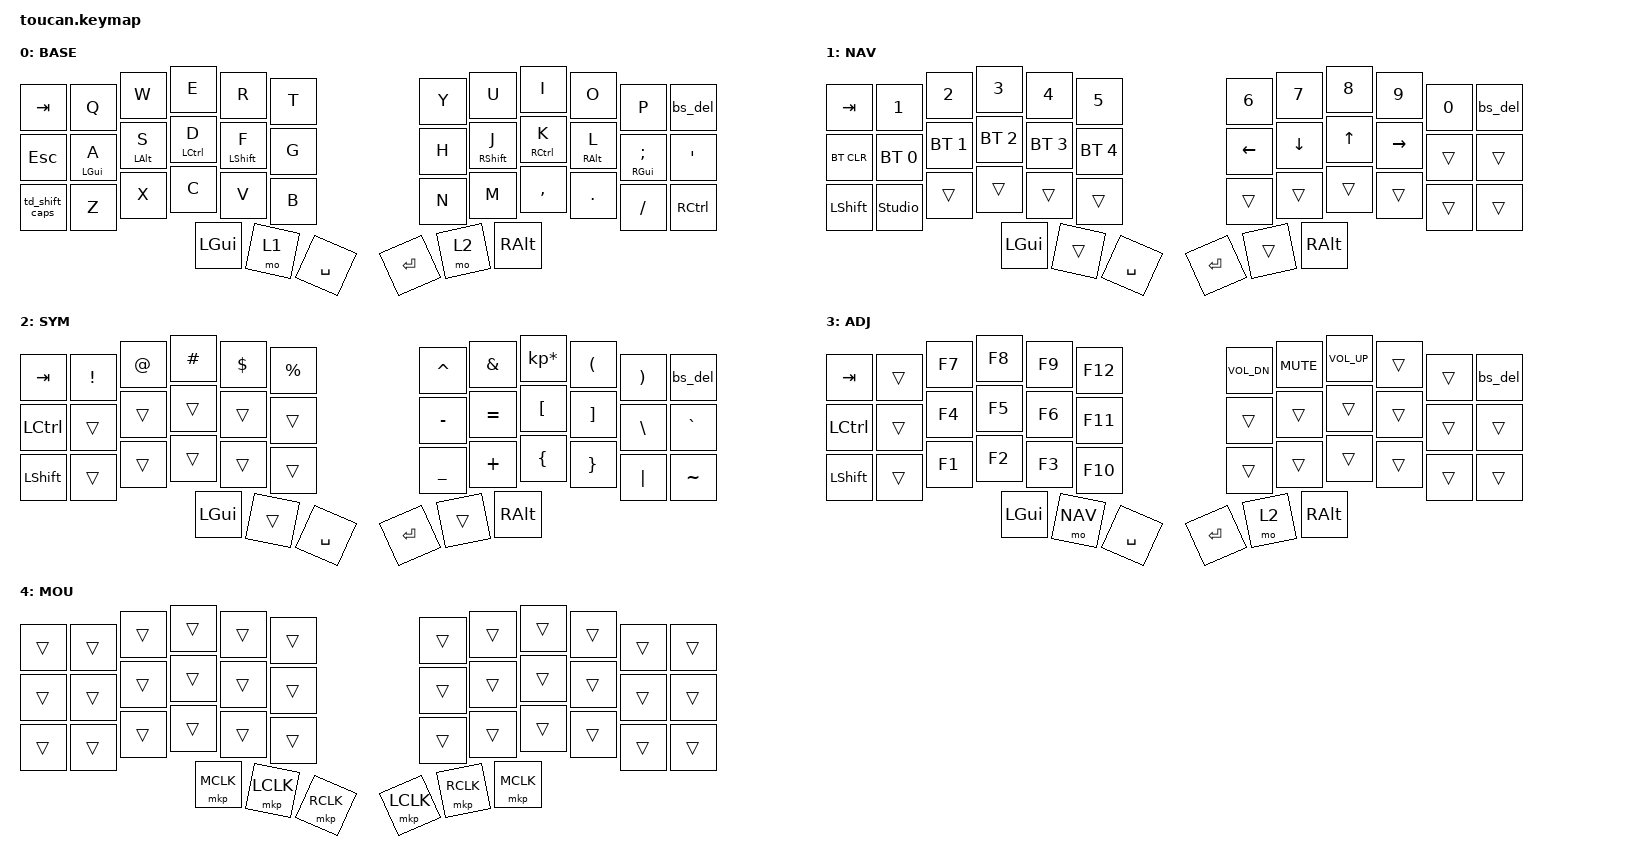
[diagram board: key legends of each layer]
#include <behaviors.dtsi>
#include <dt-bindings/zmk/keys.h>
#include <dt-bindings/zmk/bt.h>
#include <dt-bindings/zmk/outputs.h>
#include <dt-bindings/zmk/pointing.h>

#define BASE 0
#define NAV  1
#define SYM  2
#define ADJ  3

/ {
    behaviors {
        hm: home_row_mods {
            compatible = "zmk,behavior-hold-tap";
            #binding-cells = <2>;
            tapping-term-ms = <200>;
            quick-tap-ms = <0>;
            flavor = "tap-preferred";
            require-prior-idle-ms = <125>;
            bindings = <&kp>, <&kp>;
        };

        td_shift_caps: tap_dance_shift_caps {
            compatible = "zmk,behavior-tap-dance";
            #binding-cells = <0>;
            tapping-term-ms = <200>;
            bindings = <&kp LSHIFT>, <&caps_word>;
        };

        // Bound to the backspace key on every layer that has one.
        bs_del: backspace_delete {
            compatible = "zmk,behavior-mod-morph";
            #binding-cells = <0>;
            bindings = <&kp BSPC>, <&kp DEL>;
            mods = <(MOD_LSFT|MOD_RSFT)>; // Shift + Backspace = Delete
        };
    };

    conditional_layers {
        compatible = "zmk,conditional-layers";
        tri_layer {
            if-layers = <1 2>;
            then-layer = <3>;
        };
    };

    keymap {
        compatible = "zmk,keymap";

        base {
            display-name = "BASE";
            bindings = <
                &kp TAB        &kp Q      &kp W      &kp E        &kp R         &kp T   &kp Y &kp U         &kp I        &kp O       &kp P         &bs_del
                &kp ESC        &hm LGUI A &hm LALT S &hm LCTRL D  &hm LSHIFT F  &kp G   &kp H &hm RSHIFT J  &hm RCTRL K  &hm RALT L  &hm RGUI SEMI &kp SQT
                &td_shift_caps &kp Z      &kp X      &kp C        &kp V         &kp B   &kp N &kp M         &kp COMMA    &kp DOT     &kp FSLH      &kp RCTRL
                                                     &kp LGUI     &mo 1         &kp SPACE   &kp RET &mo 2 &kp RALT
            >;
        };

        nav {
            display-name = "NAV";
            bindings = <
                &kp TAB     &kp N1          &kp N2       &kp N3       &kp N4       &kp N5         &kp N6   &kp N7   &kp N8 &kp N9    &kp N0 &bs_del
                &bt BT_CLR  &bt BT_SEL 0    &bt BT_SEL 1 &bt BT_SEL 2 &bt BT_SEL 3 &bt BT_SEL 4   &kp LEFT &kp DOWN &kp UP &kp RIGHT &trans &trans
                &kp LSHFT   &studio_unlock  &trans       &trans       &trans       &trans         &trans   &trans   &trans &trans    &trans &trans
                                                &kp LGUI     &trans       &kp SPACE      &kp RET  &trans   &kp RALT
            >;
        };

        sym {
            display-name = "SYM";
            bindings = <
                &kp TAB   &kp EXCL &kp AT &kp HASH &kp DLLR &kp PRCNT   &kp CARET &kp AMPS  &kp KP_MULTIPLY &kp LPAR &kp RPAR &bs_del
                &kp LCTRL &trans   &trans &trans   &trans   &trans      &kp MINUS &kp EQUAL &kp LBKT        &kp RBKT &kp BSLH &kp GRAVE
                &kp LSHFT &trans   &trans &trans   &trans   &trans      &kp UNDER &kp PLUS  &kp LBRC        &kp RBRC &kp PIPE &kp TILDE
                                          &kp LGUI &trans   &kp SPACE   &kp RET   &trans    &kp RALT
            >;
        };

        adj {
            display-name = "ADJ";
            bindings = <
                &kp TAB   &trans &kp F7 &kp F8 &kp F9 &kp F12   &kp C_VOL_DN &kp C_MUTE  &kp C_VOL_UP &trans &trans &bs_del
                &kp LCTRL &trans &kp F4 &kp F5 &kp F6 &kp F11   &trans       &trans      &trans       &trans &trans &trans
                &kp LSHFT &trans &kp F1 &kp F2 &kp F3 &kp F10   &trans       &trans      &trans       &trans &trans &trans
                                   &kp LGUI &mo NAV &kp SPACE   &kp RET &mo 2 &kp RALT
            >;
        };

        mouse {
            display-name = "MOU";
            bindings = <
                &trans &trans &trans &trans &trans &trans           &trans &trans &trans &trans &trans &trans
                &trans &trans &trans &trans &trans &trans           &trans &trans &trans &trans &trans &trans
                &trans &trans &trans &trans &trans &trans           &trans &trans &trans &trans &trans &trans
                            &mkp MCLK &mkp LCLK &mkp RCLK           &mkp LCLK &mkp RCLK &mkp MCLK
            >;
        };

        extra_2 {
                status = "reserved";
        };

        extra_3 {
                status = "reserved";
        };
    };
};
